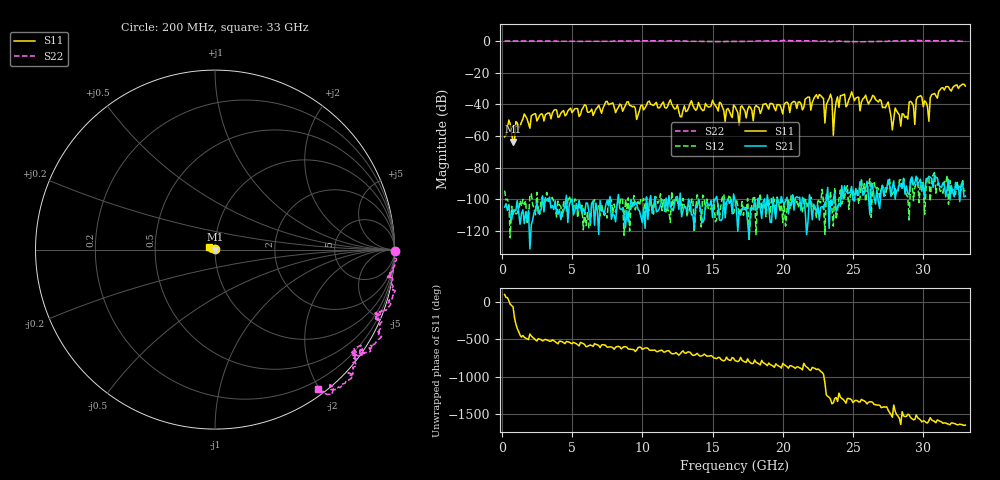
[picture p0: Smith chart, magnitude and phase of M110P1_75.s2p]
# GHZ S RI R 50
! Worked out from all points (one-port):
!   329 points, 200 MHz to 33 GHz, reference 50 ohm
!   lowest |S11| = -63.6 dB at 800 MHz (marker M1), VSWR 1.00, Z = 50 - j0.0619 ohm
!   |S11| at or under -10 dB: start of sweep to end of sweep
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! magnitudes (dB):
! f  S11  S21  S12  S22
! 200 MHz  -60.5  -104.9  -94.4  0.0
! 500 MHz  -49.9  -104.0  -103.0  0.0
! 800 MHz  -63.6  -106.7  -109.3  0.0
! 1.6 GHz  -46.0  -115.3  -103.2  0.0
! 5.7 GHz  -43.3  -109.0  -103.7  -0.2
! 11.2 GHz  -42.3  -106.1  -100.9  0.2
! 16.6 GHz  -41.4  -100.5  -105.2  -0.2
! 16.9 GHz  -53.4  -106.6  -110.2  -0.2
! 22.1 GHz  -38.8  -112.9  -105.7  0.2
! 22.9 GHz  -36.3  -106.0  -101.5  -0.1
! 23 GHz  -51.8  -102.1  -122.1  0.1
! 23.4 GHz  -33.5  -100.7  -94.8  -0.4
! 23.6 GHz  -59.5  -100.0  -116.9  -0.1
! 23.9 GHz  -35.2  -104.8  -107.1  -0.2
! 27.6 GHz  -42.8  -90.6  -86.5  0.0
! 27.8 GHz  -56.1  -92.3  -96.9  -0.1
! 29.1 GHz  -38.0  -87.5  -88.6  0.3
! 29.4 GHz  -52.7  -89.4  -92.9  0.1
! 29.8 GHz  -34.4  -87.3  -89.7  0.3
! 30.4 GHz  -50.7  -85.4  -86.3  0.3
! 30.6 GHz  -33.8  -86.7  -86.1  0.3
! 33 GHz  -28.4  -97.9  -94.6  -0.3
